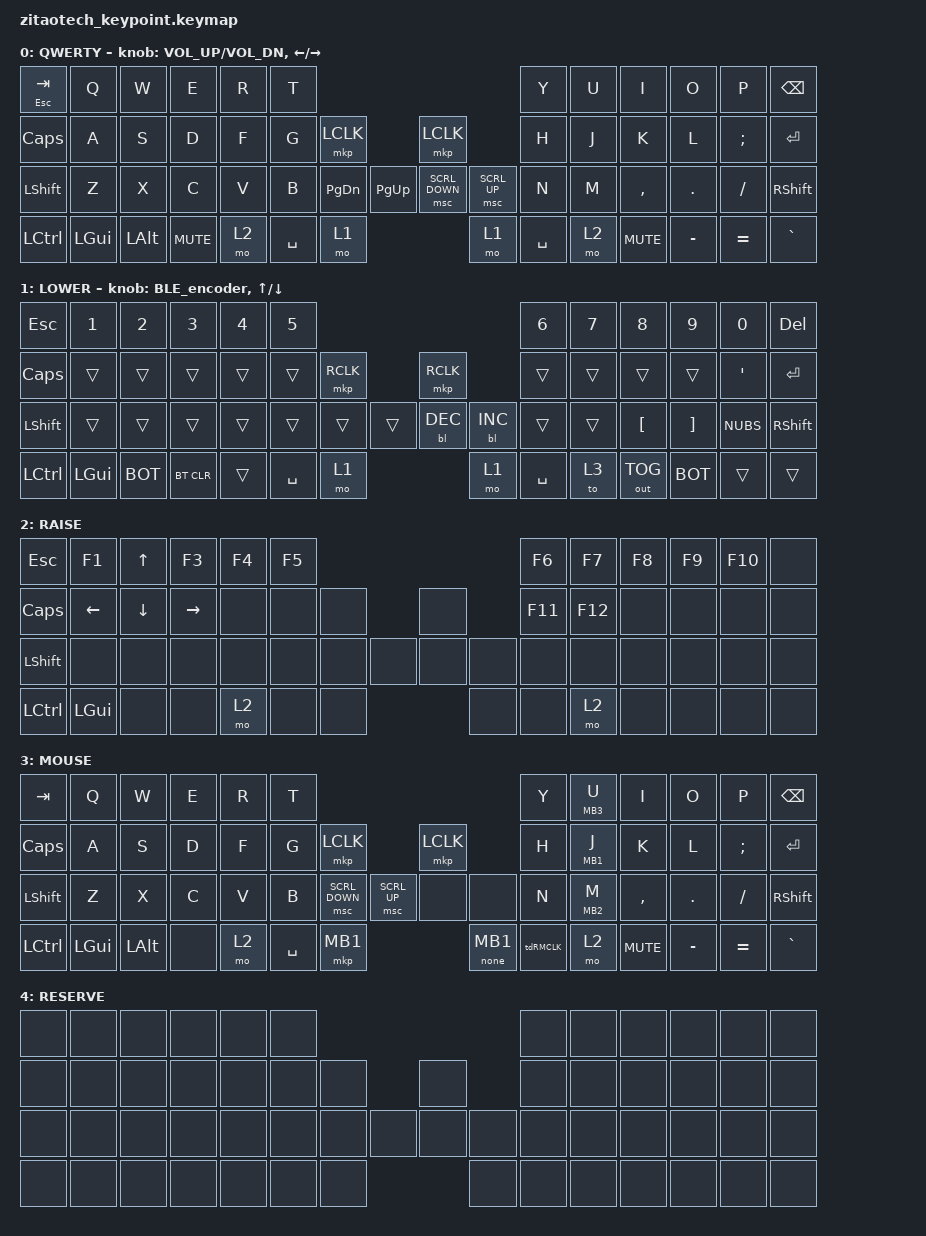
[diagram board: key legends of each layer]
/*
 * Copyright (c) 2025 ZitaoTech
 *
 * SPDX-License-Identifier: MIT
 */

#include <behaviors.dtsi>
#include <dt-bindings/zmk/keys.h>
#include <dt-bindings/zmk/bt.h>
#include <dt-bindings/zmk/outputs.h>
#include <dt-bindings/zmk/pointing.h>
#include <dt-bindings/zmk/mouse.h>
#include <dt-bindings/zmk/backlight.h>
#include <dt-bindings/zmk/ext_power.h>
#include <dt-bindings/zmk/rgb.h>
#include <behaviors/runtime_macro.dtsi>
 
#define LOWER 1
#define RAISE 2
#define MOUSE 3
#define BOT bootloader

/ {
    combos {
        compatible = "zmk,combos";

        combo_df {
            timeout-ms = <40>;
            key-positions = <15 16>;
            layers = <0>;
            bindings = <&rmacro 4>;
        };

        combo_jk {
            timeout-ms = <40>;
            key-positions = <21 22>;
            layers = <0>;
            bindings = <&rmacro 5>;
        };

        combo_sd {
            timeout-ms = <40>;
            key-positions = <14 15>;
            layers = <0>;
            bindings = <&rmacro 6>;
        };

        combo_kl {
            timeout-ms = <40>;
            key-positions = <22 23>;
            layers = <0>;
            bindings = <&rmacro 7>;
        };
    };
};

/ {
    behaviors {
        td0: tap_dance_0 {
            compatible = "zmk,behavior-tap-dance";
            #binding-cells = <0>;
            tapping-term-ms = <400>;
            bindings = <&mkp LCLK>, <&bt BT_CLR>;
        };
    };
    behaviors {
        tdRMCLK: tap_dance_R_LMouse {
            compatible = "zmk,behavior-tap-dance";
            #binding-cells = <0>;
            tapping-term-ms = <400>;
            bindings = <&mkp RCLK>, <&mkp MCLK>;
        };
    };

    behaviors {
        hm: homerow_mods {
            compatible = "zmk,behavior-hold-tap";
            #binding-cells = <2>;
            tapping-term-ms = <500>;
            bindings = <&kp &kp>;
        };
    };

    behaviors {
         LMouse_sc: behavior_LMouse_Scroll {
           compatible = "zmk,behavior-hold-tap";
           #binding-cells = <2>;
           flavor = "tap-preferred";     /* 单击优先 */
           tapping-term-ms = <200>;       /* 长按阈值 */
           bindings = <&none &mkp>;        /* hold=none, tap=Lmouse */
        };
    };

    behaviors {
         M_kp: behavior_mouse_keypress {
           compatible = "zmk,behavior-hold-tap";
           #binding-cells = <2>;
           flavor = "tap-preferred";     /* 单击优先 */
           tapping-term-ms = <200>;       /* 长按阈值 */
           bindings = <&mkp &kp>;        /* hold=mou key press, tap=key*/
        };
    };

    behaviors {
        BLE_encoder: BLE_encoder {
            compatible = "zmk,behavior-sensor-rotate";
            #sensor-binding-cells = <0>;
            bindings = <&bt BT_NXT>, <&bt BT_PRV>;
        };
    };


    keymap {
        compatible = "zmk,keymap";

         default_layer {
            display-name = "QWERTY";    
           bindings = <
&mt ESC TAB &kp Q  &kp W      &kp E      &kp R     &kp T                                                                 &kp Y       &kp U    &kp I      &kp O     &kp P     &kp BSPC
&kp CAPS  &kp A    &kp S      &kp D      &kp F     &kp G     &mkp LCLK                    &mkp LCLK                      &kp H       &kp J    &kp K      &kp L     &kp SEMI  &kp ENTER
&kp LSHFT &kp Z    &kp X      &kp C      &kp V     &kp B     &kp PG_DN  &kp PG_UP         &msc SCRL_DOWN  &msc SCRL_UP   &kp N       &kp M    &kp COMMA  &kp DOT   &kp FSLH  &kp RSHFT
&kp LCTRL &kp LGUI &kp LALT   &kp C_MUTE &mo 2     &kp SPACE &mo 1                                        &mo 1          &kp SPACE   &mo 2    &kp C_MUTE &kp MINUS &kp EQUAL &kp GRAVE
           >;
           sensor-bindings = <&inc_dec_kp C_VOL_UP C_VOL_DN &inc_dec_kp LEFT RIGHT>;
        };


        lower_layer {
            display-name = "LOWER";
            bindings = <
&kp ESC   &kp N1    &kp N2     &kp N3       &kp N4   &kp N5                                                               &kp N6    &kp N7   &kp N8       &kp N9    &kp N0     &kp DEL
&kp CAPS  &trans    &trans     &trans       &trans   &trans           &mkp RCLK                    &mkp RCLK              &trans    &trans   &trans       &trans    &kp SQT    &kp ENTER
&kp LSHFT &trans    &trans     &trans       &trans   &trans           &trans     &trans            &bl BL_DEC  &bl BL_INC &trans    &trans   &kp LBKT     &kp RBKT  &kp NUBS   &kp RSHFT
&kp LCTRL &kp LGUI  &BOT       &bt BT_CLR   &trans   &kp SPACE        &mo 1                                    &mo 1      &kp SPACE &to 3    &out OUT_TOG &BOT      &trans     &trans
            >;
             sensor-bindings = <&BLE_encoder &inc_dec_kp UP DOWN>;
        };

        raise_layer {
            display-name = "RAISE";
            bindings = <
&kp ESC       &kp F1    &kp UP     &kp F3    &kp F4   &kp F5                                                    &kp F6      &kp F7  &kp F8   &kp F9  &kp F10  &none
&kp CAPS      &kp LEFT  &kp DOWN   &kp RIGHT &none    &none   &none                        &none                &kp F11     &kp F12 &none    &none  &none     &none
&kp LSHFT     &none     &none      &none     &none    &none   &none   &none                &none  &none         &none       &none   &none    &none  &none     &none
&kp LCTRL     &kp LGUI  &none      &none     &mo 2    &none   &none                               &none         &none       &mo 2   &none    &none  &none     &none 
            >;
        };

        MOUSE_layer {
            display-name = "MOUSE";
            bindings = <
&kp TAB   &kp Q     &kp W          &kp E     &kp R     &kp T                                                         &kp Y       &M_kp MB3 U    &kp I      &kp O     &kp P     &kp BSPC
&kp CAPS  &kp A     &kp S          &kp D     &kp F     &kp G      &mkp LCLK                         &mkp LCLK        &kp H       &M_kp MB1 J    &kp K      &kp L     &kp SEMI  &kp ENTER
&kp LSHFT &kp Z     &kp X          &kp C     &kp V     &kp B      &msc SCRL_DOWN   &msc SCRL_UP     &none  &none     &kp N       &M_kp MB2 M    &kp COMMA  &kp DOT   &kp FSLH  &kp RSHFT
&kp LCTRL &kp LGUI  &kp  LALT      &none     &mo 2     &kp SPACE  &mkp MB1                         &LMouse_sc 0 MB1  &tdRMCLK    &mo 2          &kp C_MUTE &kp MINUS &kp EQUAL &kp GRAVE
            >;
        };

        RES_layer {
            display-name = "RESERVE";
            bindings = <
&none     &none     &none      &none    &none    &none                                                 &none   &none  &none   &none  &none  &none
&none     &none     &none      &none    &none    &none   &none                        &none            &none   &none  &none   &none  &none  &none
&none     &none     &none      &none    &none    &none   &none   &none                &none  &none     &none   &none  &none   &none  &none  &none
&none     &none     &none      &none    &none    &none   &none                               &none     &none   &none  &none   &none  &none  &none 
            >;
        };

    };
};

/ {
    behaviors {
        lt150_studio: studio_layer_tap_150 {
            compatible = "zmk,behavior-hold-tap";
            #binding-cells = <2>;
            flavor = "tap-preferred";
            tapping-term-ms = <150>;
            bindings = <&mo &kp>;
            display-name = "Layer-Tap 150ms";
        };

        lt200_studio: studio_layer_tap_200 {
            compatible = "zmk,behavior-hold-tap";
            #binding-cells = <2>;
            flavor = "tap-preferred";
            tapping-term-ms = <200>;
            bindings = <&mo &kp>;
            display-name = "Layer-Tap 200ms";
        };

        lt250_studio: studio_layer_tap_250 {
            compatible = "zmk,behavior-hold-tap";
            #binding-cells = <2>;
            flavor = "tap-preferred";
            tapping-term-ms = <250>;
            bindings = <&mo &kp>;
            display-name = "Layer-Tap 250ms";
        };

        mt150_studio: studio_mod_tap_150 {
            compatible = "zmk,behavior-hold-tap";
            #binding-cells = <2>;
            flavor = "hold-preferred";
            tapping-term-ms = <150>;
            bindings = <&kp &kp>;
            display-name = "Mod-Tap 150ms";
        };

        mt200_studio: studio_mod_tap_200 {
            compatible = "zmk,behavior-hold-tap";
            #binding-cells = <2>;
            flavor = "hold-preferred";
            tapping-term-ms = <200>;
            bindings = <&kp &kp>;
            display-name = "Mod-Tap 200ms";
        };

        mt250_studio: studio_mod_tap_250 {
            compatible = "zmk,behavior-hold-tap";
            #binding-cells = <2>;
            flavor = "hold-preferred";
            tapping-term-ms = <250>;
            bindings = <&kp &kp>;
            display-name = "Mod-Tap 250ms";
        };
    };
};
